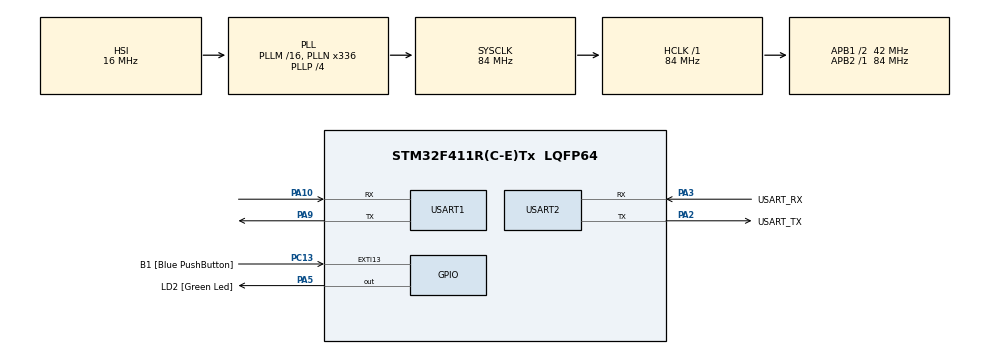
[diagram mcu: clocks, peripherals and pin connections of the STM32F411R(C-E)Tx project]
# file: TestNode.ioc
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Mcu.Family=STM32F4
Mcu.Name=STM32F411R(C-E)Tx
Mcu.Package=LQFP64
NVIC.PriorityGroup=NVIC_PRIORITYGROUP_0
PA10.Mode=Asynchronous
PA10.Signal=USART1_RX
PA13.GPIO_Label=TMS
PA13.Mode=Serial_Wire
PA13.Signal=SYS_JTMS-SWDIO
PA14.GPIO_Label=TCK
PA14.Mode=Serial_Wire
PA14.Signal=SYS_JTCK-SWCLK
PA2.GPIO_Label=USART_TX
PA2.Mode=Asynchronous
PA2.Signal=USART2_TX
PA3.GPIO_Label=USART_RX
PA3.Mode=Asynchronous
PA3.Signal=USART2_RX
PA5.GPIO_Label=LD2 [Green Led]
PA5.Signal=GPIO_Output
PA9.Mode=Asynchronous
PA9.Signal=USART1_TX
PB3.GPIO_Label=SWO
PB3.Signal=SYS_JTDO-SWO
PC13-ANTI_TAMP.GPIO_Label=B1 [Blue PushButton]
PC13-ANTI_TAMP.GPIO_ModeDefaultEXTI=GPIO_MODE_IT_FALLING
PC13-ANTI_TAMP.Signal=GPXTI13
PC14-OSC32_IN.Mode=LSE-External-Oscillator
PC14-OSC32_IN.Signal=RCC_OSC32_IN
PC15-OSC32_OUT.Mode=LSE-External-Oscillator
PC15-OSC32_OUT.Signal=RCC_OSC32_OUT
PH0\ -\ OSC_IN.Mode=HSE-External-Clock-Source
PH0\ -\ OSC_IN.Signal=RCC_OSC_IN
PH1\ -\ OSC_OUT.Mode=HSE-External-Clock-Source
PH1\ -\ OSC_OUT.Signal=RCC_OSC_OUT
ProjectManager.HeapSize=0x200
ProjectManager.StackSize=0x400
ProjectManager.TargetToolchain=STM32CubeIDE
RCC.48MHZClocksFreq_Value=84000000
RCC.AHBFreq_Value=84000000
RCC.APB1CLKDivider=RCC_HCLK_DIV2
RCC.APB1Freq_Value=42000000
RCC.APB1TimFreq_Value=84000000
RCC.APB2Freq_Value=84000000
RCC.APB2TimFreq_Value=84000000
RCC.CortexFreq_Value=84000000
RCC.FLatency-AdvancedSettings=FLASH_LATENCY_2
RCC.HCLKFreq_Value=84000000
RCC.HSE_VALUE=8000000
RCC.HSI_VALUE=16000000
RCC.PLLN=336
RCC.PLLP=RCC_PLLP_DIV4
RCC.SYSCLKFreq_VALUE=84000000
RCC.SYSCLKSource=RCC_SYSCLKSOURCE_PLLCLK
RCC.VCOOutputFreq_Value=336000000
USART1.VirtualMode=VM_ASYNC
USART2.VirtualMode=VM_ASYNC
board=NUCLEO-F411RE

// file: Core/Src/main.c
/* USER CODE BEGIN Header */
/**
  ******************************************************************************
  * @file           : main.c
  * @brief          : Main program body
  ******************************************************************************
  * @attention
  *
  * Copyright (c) 2024 STMicroelectronics.
  * All rights reserved.
  *
  * This software is licensed under terms that can be found in the LICENSE file
  * in the root directory of this software component.
  * If no LICENSE file comes with this software, it is provided AS-IS.
  *
  ******************************************************************************
  */
/* USER CODE END Header */
#include "main.h"

UART_HandleTypeDef huart1;
UART_HandleTypeDef huart2;

void SystemClock_Config(void);
static void MX_GPIO_Init(void);
static void MX_USART2_UART_Init(void);
static void MX_USART1_UART_Init(void);

int main(void)
{

  /* MCU Configuration--------------------------------------------------------*/

  /* Reset of all peripherals, Initializes the Flash interface and the Systick. */
  HAL_Init();

  /* Configure the system clock */
  SystemClock_Config();

  /* Initialize all configured peripherals */
  MX_GPIO_Init();
  MX_USART2_UART_Init();
  MX_USART1_UART_Init();

  /* Infinite loop */
  /* USER CODE BEGIN WHILE */
  char uartBuf[500];
  int update = 0;
  int debounce = 100;
  int lastPress = 0;
  uint8_t rxBuffer[100]; // Buffer to store received data
  while (1)
  {
	  if (HAL_GPIO_ReadPin(GPIOC, GPIO_PIN_13) == 0 && update == 0 && HAL_GetTick() - lastPress >= debounce) {
		  sprintf(uartBuf, "Toggle LED\r\n");
		  HAL_UART_Transmit(&huart2, (uint8_t*)uartBuf, strlen(uartBuf), HAL_MAX_DELAY);
		  HAL_UART_Transmit(&huart1, (uint8_t*)uartBuf, strlen(uartBuf), HAL_MAX_DELAY);
		  HAL_GPIO_TogglePin(GPIOA, GPIO_PIN_5);
		  update = 1;
		  lastPress = HAL_GetTick();
	  }

	  if (HAL_GPIO_ReadPin(GPIOC, GPIO_PIN_13) == 1 && update == 1) {
		  update = 0;
		  lastPress = HAL_GetTick();
	  }

//	  if (HAL_UART_Receive(&huart1, rxBuffer, 100, HAL_MAX_DELAY) == HAL_OK) {
//	      // Null-terminate the received string
//	      rxBuffer[strlen((char*)rxBuffer)] = '\0';
//	      HAL_UART_Transmit(&huart2, (uint8_t*)rxBuffer, strlen(rxBuffer), HAL_MAX_DELAY);
//	  }

    /* USER CODE END WHILE */

  }
}

void SystemClock_Config(void)
{
  RCC_OscInitTypeDef RCC_OscInitStruct = {0};
  RCC_ClkInitTypeDef RCC_ClkInitStruct = {0};

  /** Configure the main internal regulator output voltage
  */
  __HAL_RCC_PWR_CLK_ENABLE();
  __HAL_PWR_VOLTAGESCALING_CONFIG(PWR_REGULATOR_VOLTAGE_SCALE1);

  /** Initializes the RCC Oscillators according to the specified parameters
  * in the RCC_OscInitTypeDef structure.
  */
  RCC_OscInitStruct.OscillatorType = RCC_OSCILLATORTYPE_HSI;
  RCC_OscInitStruct.HSIState = RCC_HSI_ON;
  RCC_OscInitStruct.HSICalibrationValue = RCC_HSICALIBRATION_DEFAULT;
  RCC_OscInitStruct.PLL.PLLState = RCC_PLL_ON;
  RCC_OscInitStruct.PLL.PLLSource = RCC_PLLSOURCE_HSI;
  RCC_OscInitStruct.PLL.PLLM = 16;
  RCC_OscInitStruct.PLL.PLLN = 336;
  RCC_OscInitStruct.PLL.PLLP = RCC_PLLP_DIV4;
  RCC_OscInitStruct.PLL.PLLQ = 4;
  if (HAL_RCC_OscConfig(&RCC_OscInitStruct) != HAL_OK)
  {
    Error_Handler();
  }

  /** Initializes the CPU, AHB and APB buses clocks
  */
  RCC_ClkInitStruct.ClockType = RCC_CLOCKTYPE_HCLK|RCC_CLOCKTYPE_SYSCLK
                              |RCC_CLOCKTYPE_PCLK1|RCC_CLOCKTYPE_PCLK2;
  RCC_ClkInitStruct.SYSCLKSource = RCC_SYSCLKSOURCE_PLLCLK;
  RCC_ClkInitStruct.AHBCLKDivider = RCC_SYSCLK_DIV1;
  RCC_ClkInitStruct.APB1CLKDivider = RCC_HCLK_DIV2;
  RCC_ClkInitStruct.APB2CLKDivider = RCC_HCLK_DIV1;

  if (HAL_RCC_ClockConfig(&RCC_ClkInitStruct, FLASH_LATENCY_2) != HAL_OK)
  {
    Error_Handler();
  }
}

static void MX_USART1_UART_Init(void)
{

  huart1.Instance = USART1;
  huart1.Init.BaudRate = 115200;
  huart1.Init.WordLength = UART_WORDLENGTH_8B;
  huart1.Init.StopBits = UART_STOPBITS_1;
  huart1.Init.Parity = UART_PARITY_NONE;
  huart1.Init.Mode = UART_MODE_TX_RX;
  huart1.Init.HwFlowCtl = UART_HWCONTROL_NONE;
  huart1.Init.OverSampling = UART_OVERSAMPLING_16;
  if (HAL_UART_Init(&huart1) != HAL_OK)
  {
    Error_Handler();
  }

}

static void MX_USART2_UART_Init(void)
{

  huart2.Instance = USART2;
  huart2.Init.BaudRate = 115200;
  huart2.Init.WordLength = UART_WORDLENGTH_8B;
  huart2.Init.StopBits = UART_STOPBITS_1;
  huart2.Init.Parity = UART_PARITY_NONE;
  huart2.Init.Mode = UART_MODE_TX_RX;
  huart2.Init.HwFlowCtl = UART_HWCONTROL_NONE;
  huart2.Init.OverSampling = UART_OVERSAMPLING_16;
  if (HAL_UART_Init(&huart2) != HAL_OK)
  {
    Error_Handler();
  }

}

static void MX_GPIO_Init(void)
{
  GPIO_InitTypeDef GPIO_InitStruct = {0};

  /* GPIO Ports Clock Enable */
  __HAL_RCC_GPIOC_CLK_ENABLE();
  __HAL_RCC_GPIOH_CLK_ENABLE();
  __HAL_RCC_GPIOA_CLK_ENABLE();
  __HAL_RCC_GPIOB_CLK_ENABLE();

  /*Configure GPIO pin Output Level */
  HAL_GPIO_WritePin(LD2_GPIO_Port, LD2_Pin, GPIO_PIN_RESET);

  /*Configure GPIO pin : B1_Pin */
  GPIO_InitStruct.Pin = B1_Pin;
  GPIO_InitStruct.Mode = GPIO_MODE_IT_FALLING;
  GPIO_InitStruct.Pull = GPIO_NOPULL;
  HAL_GPIO_Init(B1_GPIO_Port, &GPIO_InitStruct);

  /*Configure GPIO pin : LD2_Pin */
  GPIO_InitStruct.Pin = LD2_Pin;
  GPIO_InitStruct.Mode = GPIO_MODE_OUTPUT_PP;
  GPIO_InitStruct.Pull = GPIO_NOPULL;
  GPIO_InitStruct.Speed = GPIO_SPEED_FREQ_LOW;
  HAL_GPIO_Init(LD2_GPIO_Port, &GPIO_InitStruct);

}

void Error_Handler(void)
{
  __disable_irq();
  while (1)
  {
  }
}
